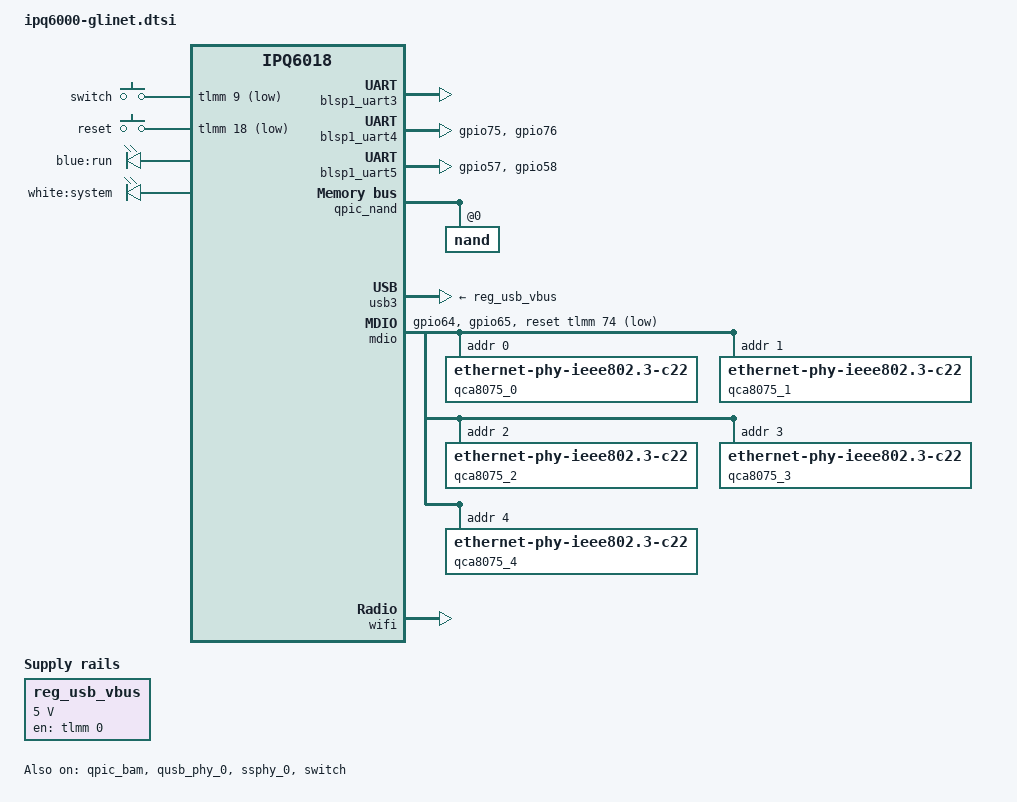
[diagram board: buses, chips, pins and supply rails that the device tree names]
// SPDX-License-Identifier: GPL-2.0-or-later OR MIT

#include "ipq6018-512m.dtsi"
#include "ipq6018-ess.dtsi"
#include "ipq6018-nss.dtsi"

#include <dt-bindings/gpio/gpio.h>
#include <dt-bindings/input/input.h>

/ {
	aliases {
		led-boot = &led_run;
		led-failsafe = &led_run;
		led-running = &led_run;
		led-upgrade = &led_run;
		serial0 = &blsp1_uart3;
		serial1 = &blsp1_uart4;
		serial2 = &blsp1_uart5;
	};

	chosen {
		stdout-path = "serial0:115200n8";
		bootargs-append = " root=/dev/ubiblock0_1";
	};

	keys {
		compatible = "gpio-keys";

		switch {
			label = "switch";
			linux,code = <BTN_0>;
			linux,input-type = <EV_SW>;
			gpios = <&tlmm 9 GPIO_ACTIVE_LOW>;
		};

		reset {
			label = "reset";
			linux,code = <KEY_RESTART>;
			gpios = <&tlmm 18 GPIO_ACTIVE_LOW>;
		};
	};

	leds {
		compatible = "gpio-leds";

		led_run: run {
			label = "blue:run";
			gpio = <&tlmm 37 GPIO_ACTIVE_HIGH>;
		};

		system {
			label = "white:system";
			gpio = <&tlmm 35 GPIO_ACTIVE_HIGH>;
		};
	};

	reg_usb_vbus: regulator-usb-vbus {
		compatible = "regulator-fixed";
		regulator-name = "usb_vbus";
		regulator-min-microvolt = <5000000>;
		regulator-max-microvolt = <5000000>;
		gpio = <&tlmm 0 GPIO_ACTIVE_HIGH>;
		enable-active-high;
		regulator-always-on;
	};
};

&tlmm {
	mdio_pins: mdio-pins {
		mdc {
			pins = "gpio64";
			function = "mdc";
			drive-strength = <8>;
			bias-pull-up;
		};

		mdio {
			pins = "gpio65";
			function = "mdio";
			drive-strength = <8>;
			bias-pull-up;
		};
	};

	tluart_pins: tluart-pins {
		mux {
			pins = "gpio75", "gpio76";
			function = "blsp3_uart";
			drive-strength = <8>;
			bias-disable;
		};
	};

	hsuart_pins: hsuart-pins {
		mux {
			pins = "gpio57", "gpio58";
			function = "blsp4_uart";
			drive-strength = <8>;
			bias-disable;
		};
	};
};

&blsp1_uart3 {
	pinctrl-0 = <&serial_3_pins>;
	pinctrl-names = "default";
	status = "okay";
};

&blsp1_uart4 {
	pinctrl-0 = <&tluart_pins>;
	pinctrl-names = "default";
	status = "okay";
};

&blsp1_uart5 {
	pinctrl-0 = <&hsuart_pins>;
	pinctrl-names = "default";
	status = "okay";
};

&qpic_bam {
	status = "okay";
};

&qpic_nand {
	status = "okay";

	nand@0 {
		reg = <0>;
		nand-ecc-strength = <4>;
		nand-ecc-step-size = <512>;
		nand-bus-width = <8>;

		partitions {
			compatible = "qcom,smem-part";
		};
	};
};

&qusb_phy_0 {
	status = "okay";
};

&ssphy_0 {
	status = "okay";
};

&usb3 {
	vbus-supply = <&reg_usb_vbus>;
	status = "okay";
};

&rpm {
	status = "disabled";
};

&mdio {
	status = "okay";

	pinctrl-0 = <&mdio_pins>;
	pinctrl-names = "default";
	reset-gpios = <&tlmm 74 GPIO_ACTIVE_LOW>;

	qca8075_0: ethernet-phy@0 {
		compatible = "ethernet-phy-ieee802.3-c22";
		reg = <0>;
	};

	qca8075_1: ethernet-phy@1 {
		compatible = "ethernet-phy-ieee802.3-c22";
		reg = <1>;
	};

	qca8075_2: ethernet-phy@2 {
		compatible = "ethernet-phy-ieee802.3-c22";
		reg = <2>;
	};

	qca8075_3: ethernet-phy@3 {
		compatible = "ethernet-phy-ieee802.3-c22";
		reg = <3>;
	};

	qca8075_4: ethernet-phy@4 {
		compatible = "ethernet-phy-ieee802.3-c22";
		reg = <4>;
	};
};

&switch {
	status = "okay";

	switch_cpu_bmp = <0x1>;  /* cpu port bitmap */
	switch_mac_mode = <0x0>; /* mac mode for uniphy 0*/
	switch_mac_mode1 = <0xff>; /* mac mode for uniphy 1*/
	switch_mac_mode2 = <0xff>; /* mac mode for uniphy 2*/

	qcom,port_phyinfo {
		port@0 {
			port_id = <1>;
			phy_address = <0>;
		};
		port@1 {
			port_id = <2>;
			phy_address = <1>;
		};
		port@2 {
			port_id = <3>;
			phy_address = <2>;
		};
		port@3 {
			port_id = <4>;
			phy_address = <3>;
		};
		port@4 {
			port_id = <5>;
			phy_address = <4>;
		};
	};
};

&edma {
	status = "okay";
};

&wifi {
	status = "okay";

	qcom,ath11k-fw-memory-mode = <1>;
};
